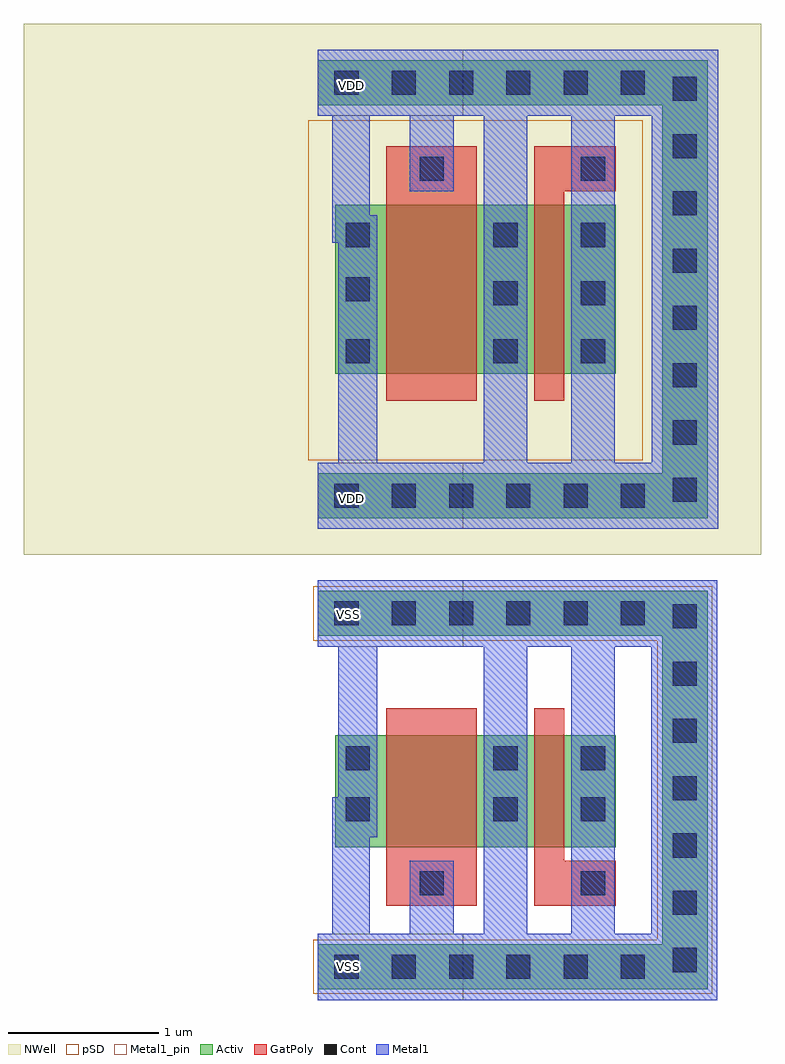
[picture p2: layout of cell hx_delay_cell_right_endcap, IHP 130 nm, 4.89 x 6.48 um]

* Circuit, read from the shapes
.subckt hx_delay_cell_right_endcap VDD VSS
XM1 VSS VSS VSS VSS sg13_lv_nmos w=0.74u l=0.6u
XM2 VSS VSS VSS VSS sg13_lv_nmos w=0.74u l=0.2u
XM3 VDD VDD VDD VDD sg13_lv_pmos w=1.12u l=0.6u
XM4 VDD VDD VDD VDD sg13_lv_pmos w=1.12u l=0.2u
.ends

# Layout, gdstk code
import gdstk
lib = gdstk.Library(unit=1e-6, precision=1e-09)
def R(c, l, rs):  # rectangles x0, y0, x1, y1
    for r in rs: c.add(gdstk.rectangle(r[:2], r[2:], *l))
def A(c, l, x, y, w, h, nx, ny, dx, dy):  # array of equal rectangles
    R(c, l, [(x+i*dx, y+j*dy, x+i*dx+w, y+j*dy+h) for i in range(nx) for j in range(ny)])
def P(c, l, *ps):  # polygons
    for p in ps: c.add(gdstk.Polygon(p, *l))
Activ = (1, 0)
GatPoly = (5, 0)
Cont = (6, 0)
Metal1 = (8, 0)
Metal1_pin = (8, 2)
pSD = (14, 0)
NWell = (31, 0)

hx_delay_cell_right_endc = lib.new_cell('hx_delay_cell_right_endcap')
R(hx_delay_cell_right_endc, Activ, [(0.715,0.795,2.575,1.535), (0.715,3.935,2.575,5.055)])
P(hx_delay_cell_right_endc, Activ, [(0.6,-0.15),(0.6,0.15),(2.885,0.15),(2.885,2.195),(0.6,2.195),(0.6,2.495),(3.185,2.495),(3.185,-0.15)],
  [(0.6,2.975),(0.6,3.275),(2.885,3.275),(2.885,5.715),(0.6,5.715),(0.6,6.015),(3.185,6.015),(3.185,2.975)])
R(hx_delay_cell_right_endc, GatPoly, [(1.055,0.405,1.655,1.715), (1.055,3.755,1.655,5.445)])
P(hx_delay_cell_right_endc, GatPoly, [(2.035,3.755),(2.035,5.445),(2.575,5.445),(2.575,5.145),(2.235,5.145),(2.235,3.755)],
  [(2.035,0.405),(2.035,1.715),(2.235,1.715),(2.235,0.705),(2.575,0.705),(2.575,0.405)])
A(hx_delay_cell_right_endc, Cont, 0.71, -0.08, 0.16, 0.16, 6, 2, 0.38, 2.345)
A(hx_delay_cell_right_endc, Cont, 2.955, -0.035, 0.16, 0.16, 1, 7, 0, 0.38)
A(hx_delay_cell_right_endc, Cont, 0.71, 3.045, 0.16, 0.16, 6, 2, 0.38, 2.74)
A(hx_delay_cell_right_endc, Cont, 2.955, 3.085, 0.16, 0.16, 1, 8, 0, 0.38)
A(hx_delay_cell_right_endc, Cont, 1.765, 4.005, 0.16, 0.16, 1, 3, 0, 0.385)
A(hx_delay_cell_right_endc, Cont, 2.345, 4.005, 0.16, 0.16, 1, 3, 0, 0.385)
R(hx_delay_cell_right_endc, Cont, [(1.275,0.475,1.435,0.635), (2.345,0.475,2.505,0.635), (0.785,0.965,0.945,1.125), (1.765,0.965,1.925,1.125), (2.345,0.965,2.505,1.125), (0.785,1.305,0.945,1.465), (1.765,1.305,1.925,1.465), (2.345,1.305,2.505,1.465), (0.785,4.005,0.945,4.165), (0.785,4.415,0.945,4.575), (0.785,4.775,0.945,4.935), (1.275,5.215,1.435,5.375), (2.345,5.215,2.505,5.375)])
R(hx_delay_cell_right_endc, Metal1, [(1.21,0.22,1.5,0.705), (1.7,0.22,1.99,2.125), (2.28,0.22,2.57,2.125), (1.7,3.345,1.99,5.645), (2.28,3.345,2.57,5.645), (1.21,5.145,1.5,5.645)])
P(hx_delay_cell_right_endc, Metal1, [(0.6,2.905),(0.6,3.345),(2.815,3.345),(2.815,5.645),(0.6,5.645),(0.6,6.085),(3.255,6.085),(3.255,2.905)],
  [(0.6,-0.22),(0.6,0.22),(2.81,0.22),(2.81,2.125),(0.6,2.125),(0.6,2.565),(3.25,2.565),(3.25,-0.22)],
  [(0.735,3.345),(0.735,4.805),(0.695,4.805),(0.695,5.645),(0.945,5.645),(0.945,4.985),(0.995,4.985),(0.995,3.345)],
  [(0.695,0.22),(0.695,1.125),(0.735,1.125),(0.735,2.125),(0.995,2.125),(0.995,0.86),(0.945,0.86),(0.945,0.22)])
R(hx_delay_cell_right_endc, Metal1_pin, [(0.6,-0.22,1.565,0.22), (0.6,2.125,1.565,2.565), (0.6,2.905,1.565,3.345), (0.6,5.645,1.565,6.085)])
R(hx_delay_cell_right_endc, pSD, [(0.535,3.36,2.755,5.615)])
P(hx_delay_cell_right_endc, pSD, [(0.57,-0.18),(0.57,0.18),(2.85,0.18),(2.85,2.165),(0.57,2.165),(0.57,2.525),(3.215,2.525),(3.215,-0.18)])
R(hx_delay_cell_right_endc, NWell, [(-1.35,2.735,3.54,6.255)])
hx_delay_cell_right_endc.add(gdstk.Label('VSS', (0.8,2.34), layer=8, texttype=25))
hx_delay_cell_right_endc.add(gdstk.Label('VDD', (0.82,3.11), layer=8, texttype=25))
hx_delay_cell_right_endc.add(gdstk.Label('VSS', (0.8,0), layer=8, texttype=25))
hx_delay_cell_right_endc.add(gdstk.Label('VDD', (0.82,5.85), layer=8, texttype=25))

lib.write_gds('hx_delay_cell_right_endcap.gds')
